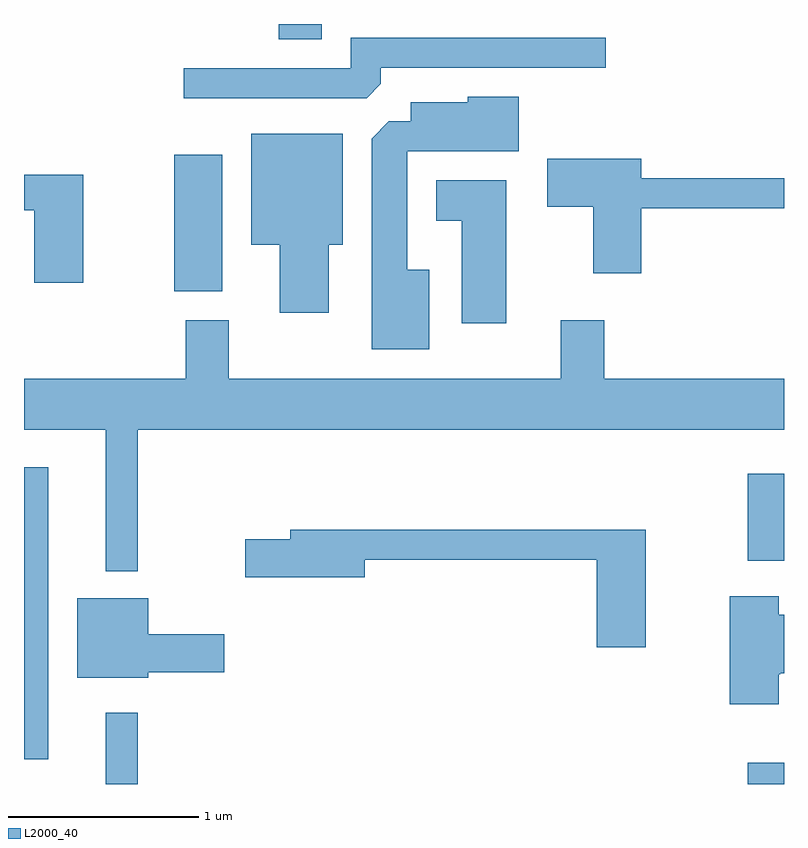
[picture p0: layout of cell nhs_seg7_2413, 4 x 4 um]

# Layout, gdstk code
import gdstk
lib = gdstk.Library(unit=1e-6, precision=1e-09)
def R(c, l, rs):  # rectangles x0, y0, x1, y1
    for r in rs: c.add(gdstk.rectangle(r[:2], r[2:], *l))
def P(c, l, *ps):  # polygons
    for p in ps: c.add(gdstk.Polygon(p, *l))
L2000_40 = (2000, 40)

nhs_seg7_2413 = lib.new_cell('nhs_seg7_2413')
R(nhs_seg7_2413, L2000_40, [(260.041,1690.252,260.209,1690.628), (263.421,1690.252,263.611,1690.364), (259.611,1690.383,259.739,1691.919), (263.421,1691.426,263.611,1691.884), (260.401,1692.846,260.654,1693.564), (260.951,1694.171,261.179,1694.252)])
P(nhs_seg7_2413, L2000_40, [(261.489,1693.937),(261.489,1694.021),(262.673,1694.021),(262.673,1694.179),(261.331,1694.179),(261.331,1694.019),(260.453,1694.019),(260.453,1693.861),(261.414,1693.861)],
  [(261.744,1692.959),(261.629,1692.959),(261.629,1693.581),(262.214,1693.581),(262.214,1693.869),(261.946,1693.869),(261.946,1693.839),(261.646,1693.839),(261.646,1693.739),(261.532,1693.739),(261.441,1693.649),(261.441,1692.541),(261.744,1692.541)],
  [(261.214,1693.091),(261.289,1693.091),(261.289,1693.674),(260.806,1693.674),(260.806,1693.091),(260.956,1693.091),(260.956,1692.731),(261.214,1692.731)],
  [(262.859,1693.281),(263.611,1693.281),(263.611,1693.439),(262.859,1693.439),(262.859,1693.544),(262.366,1693.544),(262.366,1693.291),(262.606,1693.291),(262.606,1692.941),(262.859,1692.941)],
  [(259.924,1693.459),(259.611,1693.459),(259.611,1693.271),(259.666,1693.271),(259.666,1692.891),(259.924,1692.891)],
  [(262.149,1693.429),(261.781,1693.429),(261.781,1693.216),(261.916,1693.216),(261.916,1692.676),(262.149,1692.676)],
  [(260.209,1692.116),(263.611,1692.116),(263.611,1692.384),(262.664,1692.384),(262.664,1692.694),(262.436,1692.694),(262.436,1692.384),(260.689,1692.384),(260.689,1692.694),(260.461,1692.694),(260.461,1692.384),(259.611,1692.384),(259.611,1692.116),(260.041,1692.116),(260.041,1691.373),(260.209,1691.373)],
  [(262.884,1691.589),(261.011,1691.589),(261.011,1691.539),(260.776,1691.539),(260.776,1691.341),(261.404,1691.341),(261.404,1691.431),(262.626,1691.431),(262.626,1690.971),(262.884,1690.971)],
  [(263.584,1690.83),(263.59,1690.83),(263.59,1690.836),(263.611,1690.836),(263.611,1691.144),(263.584,1691.144),(263.584,1691.239),(263.326,1691.239),(263.326,1690.671),(263.584,1690.671)],
  [(260.264,1690.841),(260.664,1690.841),(260.664,1691.039),(260.264,1691.039),(260.264,1691.229),(259.891,1691.229),(259.891,1690.811),(260.264,1690.811)])

lib.write_gds('nhs_seg7_2413.gds')
